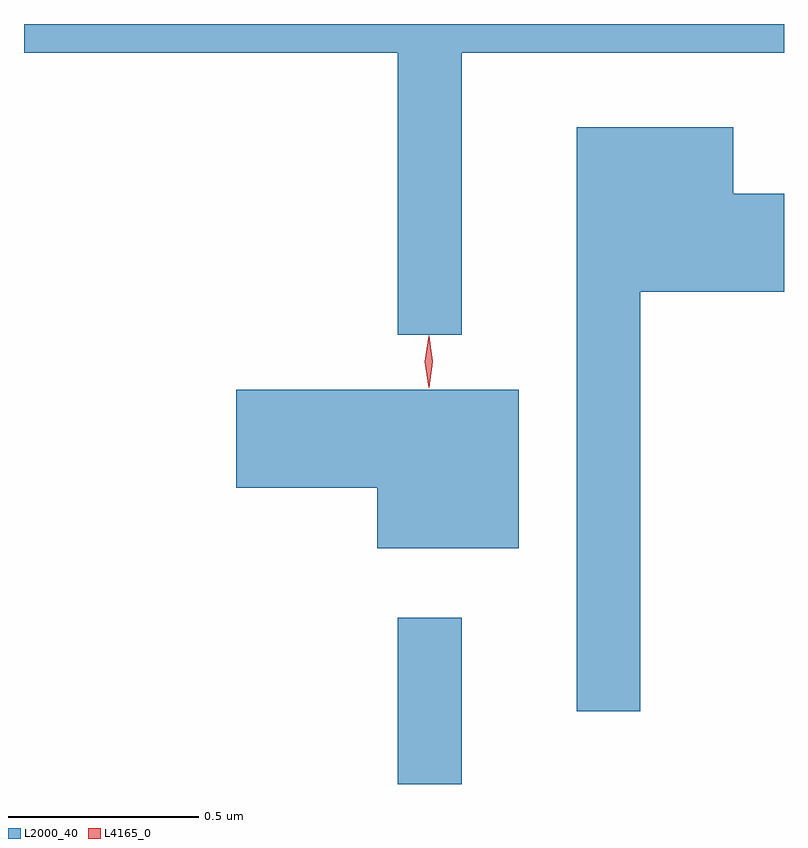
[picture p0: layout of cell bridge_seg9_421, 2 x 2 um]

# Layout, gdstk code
import gdstk
lib = gdstk.Library(unit=1e-6, precision=1e-09)
def R(c, l, rs):  # rectangles x0, y0, x1, y1
    for r in rs: c.add(gdstk.rectangle(r[:2], r[2:], *l))
def P(c, l, *ps):  # polygons
    for p in ps: c.add(gdstk.Polygon(p, *l))
L2000_40 = (2000, 40)
L4165_0 = (4165, 0)

bridge_seg9_421 = lib.new_cell('bridge_seg9_421')
R(bridge_seg9_421, L2000_40, [(628.271,2063.151,628.439,2063.588)])
P(bridge_seg9_421, L2000_40, [(628.439,2065.076),(629.287,2065.076),(629.287,2065.151),(627.287,2065.151),(627.287,2065.076),(628.271,2065.076),(628.271,2064.333),(628.439,2064.333)],
  [(628.909,2064.446),(629.287,2064.446),(629.287,2064.704),(629.154,2064.704),(629.154,2064.879),(628.741,2064.879),(628.741,2063.343),(628.909,2063.343)],
  [(628.589,2064.189),(627.846,2064.189),(627.846,2063.931),(628.216,2063.931),(628.216,2063.771),(628.589,2063.771)])
P(bridge_seg9_421, L4165_0, [(628.352,2064.2),(628.352,2064.2),(628.342,2064.263),(628.352,2064.326),(628.352,2064.327),(628.353,2064.326),(628.362,2064.263),(628.353,2064.2)],
  [(628.352,2064.194),(628.352,2064.194),(628.342,2064.262),(628.352,2064.33),(628.352,2064.33),(628.353,2064.33),(628.362,2064.262),(628.353,2064.194)])

lib.write_gds('bridge_seg9_421.gds')
